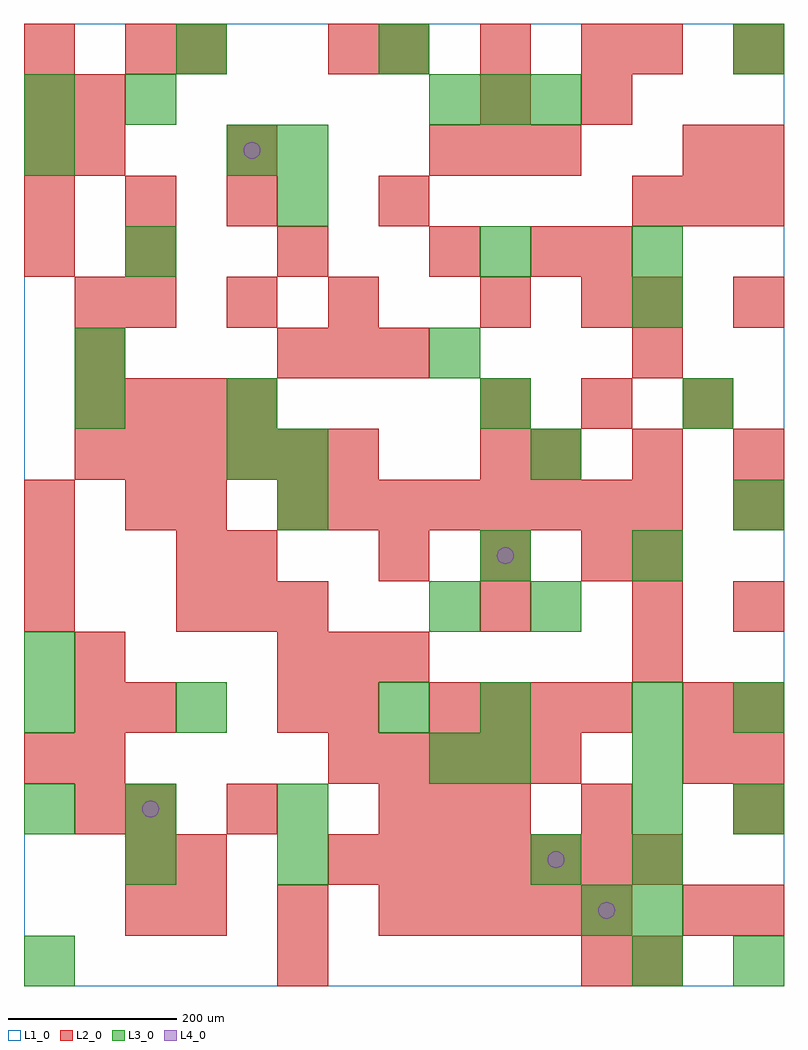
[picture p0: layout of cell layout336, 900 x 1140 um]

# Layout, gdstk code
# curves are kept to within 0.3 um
import gdstk
lib = gdstk.Library(unit=1e-6, precision=1e-09)
def R(c, l, rs):  # rectangles x0, y0, x1, y1
    for r in rs: c.add(gdstk.rectangle(r[:2], r[2:], *l))
def A(c, l, x, y, w, h, nx, ny, dx, dy):  # array of equal rectangles
    R(c, l, [(x+i*dx, y+j*dy, x+i*dx+w, y+j*dy+h) for i in range(nx) for j in range(ny)])
def P(c, l, *ps):  # polygons
    for p in ps: c.add(gdstk.Polygon(p, *l))
L1_0 = (1, 0)
L2_0 = (2, 0)
L3_0 = (3, 0)
L4_0 = (4, 0)

layout336 = lib.new_cell('layout336')
R(layout336, L1_0, [(0,0,900,1140)])
A(layout336, L2_0, 120, 60, 60, 60, 1, 3, 0, 60)
A(layout336, L2_0, 180, 60, 60, 60, 3, 1, 120, 0)
A(layout336, L2_0, 480, 60, 60, 60, 4, 2, 60, 240)
A(layout336, L2_0, 360, 120, 60, 60, 7, 1, 60, 0)
A(layout336, L2_0, 60, 180, 60, 60, 1, 4, 0, 60)
A(layout336, L2_0, 420, 180, 60, 60, 3, 1, 60, 0)
A(layout336, L2_0, 840, 180, 60, 60, 1, 3, 0, 60)
A(layout336, L2_0, 360, 240, 60, 60, 5, 1, 60, 0)
A(layout336, L2_0, 300, 360, 60, 60, 3, 2, 60, 360)
A(layout336, L2_0, 720, 360, 60, 60, 1, 3, 0, 60)
A(layout336, L2_0, 0, 420, 60, 60, 1, 3, 0, 60)
A(layout336, L2_0, 180, 420, 60, 60, 3, 1, 60, 0)
A(layout336, L2_0, 540, 420, 60, 60, 1, 3, 0, 180)
A(layout336, L2_0, 420, 480, 60, 60, 3, 2, 120, 600)
A(layout336, L2_0, 300, 540, 60, 60, 8, 1, 60, 0)
A(layout336, L2_0, 60, 600, 60, 60, 6, 1, 60, 0)
A(layout336, L2_0, 600, 600, 60, 60, 3, 1, 120, 0)
A(layout336, L2_0, 60, 660, 60, 60, 4, 1, 60, 0)
A(layout336, L2_0, 540, 660, 60, 60, 3, 1, 120, 0)
A(layout336, L2_0, 120, 780, 60, 60, 3, 1, 120, 0)
A(layout336, L2_0, 120, 840, 60, 60, 3, 1, 180, 0)
A(layout336, L2_0, 0, 900, 60, 60, 3, 1, 120, 0)
A(layout336, L2_0, 720, 900, 60, 60, 3, 1, 60, 0)
A(layout336, L2_0, 0, 960, 60, 60, 1, 3, 0, 60)
A(layout336, L2_0, 480, 960, 60, 60, 3, 1, 60, 0)
R(layout336, L2_0, [(300,0,360,60), (660,0,720,60), (720,0,780,60), (780,60,840,120), (840,60,900,120), (180,120,240,180), (240,180,300,240), (660,180,720,240), (0,240,60,300), (780,240,840,300), (120,300,180,360), (300,300,360,360), (360,300,420,360), (780,300,840,360), (840,420,900,480), (180,480,240,540), (240,480,300,540), (120,540,180,600), (180,540,240,600), (840,540,900,600), (60,720,120,780), (720,720,780,780), (60,780,120,840), (660,780,720,840), (720,780,780,840), (840,780,900,840), (0,840,60,900), (600,840,660,900), (660,840,720,900), (420,900,480,960), (60,960,120,1020), (240,960,300,1020), (780,960,840,1020), (840,960,900,1020), (60,1020,120,1080), (540,1020,600,1080), (660,1020,720,1080), (120,1080,180,1140), (180,1080,240,1140), (360,1080,420,1140), (720,1080,780,1140), (840,1080,900,1140)])
A(layout336, L3_0, 720, 0, 60, 60, 1, 6, 0, 60)
A(layout336, L3_0, 540, 300, 60, 60, 1, 4, 0, 180)
A(layout336, L3_0, 480, 1020, 60, 60, 3, 1, 60, 0)
R(layout336, L3_0, [(0,0,60,60), (840,0,900,60), (660,60,720,120), (120,120,180,180), (300,120,360,180), (600,120,660,180), (0,180,60,240), (120,180,180,240), (300,180,360,240), (840,180,900,240), (480,240,540,300), (540,240,600,300), (0,300,60,360), (180,300,240,360), (420,300,480,360), (840,300,900,360), (0,360,60,420), (480,420,540,480), (600,420,660,480), (720,480,780,540), (300,540,360,600), (840,540,900,600), (240,600,300,660), (300,600,360,660), (600,600,660,660), (60,660,120,720), (240,660,300,720), (780,660,840,720), (60,720,120,780), (480,720,540,780), (720,780,780,840), (120,840,180,900), (720,840,780,900), (300,900,360,960), (0,960,60,1020), (240,960,300,1020), (300,960,360,1020), (0,1020,60,1080), (120,1020,180,1080), (180,1080,240,1140), (420,1080,480,1140), (840,1080,900,1140)])
P(layout336, L4_0, [(160,210),(159.239,213.827),(157.071,217.071),(153.827,219.239),(150,220),(146.173,219.239),(142.929,217.071),(140.761,213.827),(140,210),(140.761,206.173),(142.929,202.929),(146.173,200.761),(150,200),(153.827,200.761),(157.071,202.929),(159.239,206.173)],
  [(280,990),(279.239,993.827),(277.071,997.071),(273.827,999.239),(270,1000),(266.173,999.239),(262.929,997.071),(260.761,993.827),(260,990),(260.761,986.173),(262.929,982.929),(266.173,980.761),(270,980),(273.827,980.761),(277.071,982.929),(279.239,986.173)],
  [(580,510),(579.239,513.827),(577.071,517.071),(573.827,519.239),(570,520),(566.173,519.239),(562.929,517.071),(560.761,513.827),(560,510),(560.761,506.173),(562.929,502.929),(566.173,500.761),(570,500),(573.827,500.761),(577.071,502.929),(579.239,506.173)],
  [(640,150),(639.239,153.827),(637.071,157.071),(633.827,159.239),(630,160),(626.173,159.239),(622.929,157.071),(620.761,153.827),(620,150),(620.761,146.173),(622.929,142.929),(626.173,140.761),(630,140),(633.827,140.761),(637.071,142.929),(639.239,146.173)],
  [(700,90),(699.239,93.827),(697.071,97.071),(693.827,99.239),(690,100),(686.173,99.239),(682.929,97.071),(680.761,93.827),(680,90),(680.761,86.173),(682.929,82.929),(686.173,80.761),(690,80),(693.827,80.761),(697.071,82.929),(699.239,86.173)])

lib.write_gds('layout336.gds')
